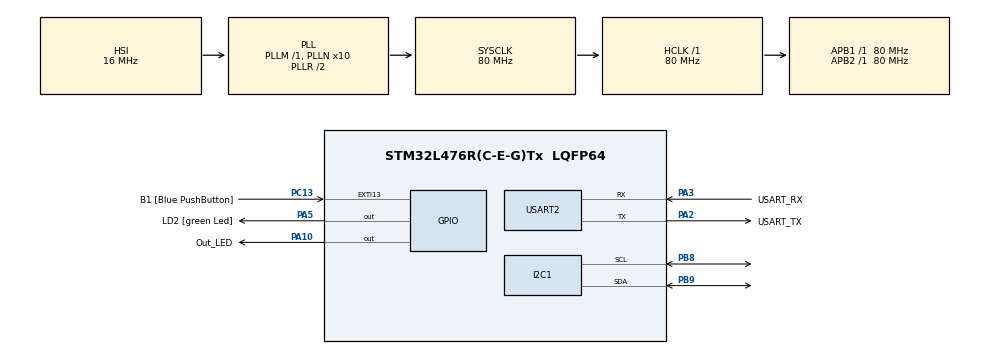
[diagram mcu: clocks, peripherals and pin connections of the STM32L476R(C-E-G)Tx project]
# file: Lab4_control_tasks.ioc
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FREERTOS.Tasks01=ReadRGB,24,128,StartReadRGB,Default,NULL,Dynamic,NULL,NULL;ControlTask,8,128,StartControlTask,Default,NULL,Dynamic,NULL,NULL;ActuatorTask,8,128,StartActuatorTask,Default,NULL,Dynamic,NULL,NULL
I2C1.Timing=0x10D19CE4
Mcu.Family=STM32L4
Mcu.Name=STM32L476R(C-E-G)Tx
Mcu.Package=LQFP64
NVIC.PriorityGroup=NVIC_PRIORITYGROUP_4
NVIC.TIM6_DAC_IRQn=true\:15\:0\:false\:false\:true\:false\:false\:true\:true
NVIC.TimeBase=TIM6_DAC_IRQn
NVIC.TimeBaseIP=TIM6
PA10.GPIO_Label=Out_LED
PA10.Signal=GPIO_Output
PA13\ (JTMS-SWDIO).GPIO_Label=TMS
PA13\ (JTMS-SWDIO).Mode=Serial_Wire
PA13\ (JTMS-SWDIO).Signal=SYS_JTMS-SWDIO
PA14\ (JTCK-SWCLK).GPIO_Label=TCK
PA14\ (JTCK-SWCLK).Mode=Serial_Wire
PA14\ (JTCK-SWCLK).Signal=SYS_JTCK-SWCLK
PA2.GPIO_Label=USART_TX
PA2.GPIO_Mode=GPIO_MODE_AF_PP
PA2.GPIO_PuPd=GPIO_NOPULL
PA2.GPIO_Speed=GPIO_SPEED_FREQ_VERY_HIGH
PA2.Mode=Asynchronous
PA2.Signal=USART2_TX
PA3.GPIO_Label=USART_RX
PA3.GPIO_Mode=GPIO_MODE_AF_PP
PA3.GPIO_PuPd=GPIO_NOPULL
PA3.GPIO_Speed=GPIO_SPEED_FREQ_VERY_HIGH
PA3.Mode=Asynchronous
PA3.Signal=USART2_RX
PA5.GPIO_Label=LD2 [green Led]
PA5.GPIO_ModeDefaultOutputPP=GPIO_MODE_OUTPUT_PP
PA5.GPIO_PuPd=GPIO_NOPULL
PA5.GPIO_Speed=GPIO_SPEED_FREQ_LOW
PA5.Signal=GPIO_Output
PB3\ (JTDO-TRACESWO).GPIO_Label=SWO
PB3\ (JTDO-TRACESWO).Signal=SYS_JTDO-SWO
PB8.Mode=I2C
PB8.Signal=I2C1_SCL
PB9.Mode=I2C
PB9.Signal=I2C1_SDA
PC13.GPIO_Label=B1 [Blue PushButton]
PC13.GPIO_ModeDefaultEXTI=GPIO_MODE_IT_FALLING
PC13.GPIO_PuPd=GPIO_NOPULL
PC13.Signal=GPXTI13
PC14-OSC32_IN\ (PC14).Mode=LSE-External-Oscillator
PC14-OSC32_IN\ (PC14).Signal=RCC_OSC32_IN
PC15-OSC32_OUT\ (PC15).Mode=LSE-External-Oscillator
PC15-OSC32_OUT\ (PC15).Signal=RCC_OSC32_OUT
PH0-OSC_IN\ (PH0).Signal=RCC_OSC_IN
PH1-OSC_OUT\ (PH1).Signal=RCC_OSC_OUT
ProjectManager.HeapSize=0x200
ProjectManager.StackSize=0x400
ProjectManager.TargetToolchain=STM32CubeIDE
RCC.ADCFreq_Value=64000000
RCC.AHBFreq_Value=80000000
RCC.APB1Freq_Value=80000000
RCC.APB1TimFreq_Value=80000000
RCC.APB2Freq_Value=80000000
RCC.APB2TimFreq_Value=80000000
RCC.CortexFreq_Value=80000000
RCC.HCLKFreq_Value=80000000
RCC.HSE_VALUE=8000000
RCC.HSI_VALUE=16000000
RCC.MSI_VALUE=4000000
RCC.PLLN=10
RCC.PLLSourceVirtual=RCC_PLLSOURCE_HSI
RCC.PREFETCH_ENABLE=1
RCC.SYSCLKFreq_VALUE=80000000
RCC.SYSCLKSource=RCC_SYSCLKSOURCE_PLLCLK
RCC.USBFreq_Value=64000000
RCC.VCOOutputFreq_Value=160000000
USART2.VirtualMode-Asynchronous=VM_ASYNC
VP_FREERTOS_VS_CMSIS_V2.Mode=CMSIS_V2
VP_SYS_VS_tim6.Mode=TIM6
board=NUCLEO-L476RG

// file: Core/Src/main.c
/* USER CODE BEGIN Header */
/**
  ******************************************************************************
  * @file           : main.c
  * @brief          : Main program body
  ******************************************************************************
  * @attention
  *
  * Copyright (c) 2025 STMicroelectronics.
  * All rights reserved.
  *
  * This software is licensed under terms that can be found in the LICENSE file
  * in the root directory of this software component.
  * If no LICENSE file comes with this software, it is provided AS-IS.
  *
  ******************************************************************************
  */
/* USER CODE END Header */
#include "main.h"
#include "cmsis_os.h"

/* USER CODE BEGIN Includes */
#include <string.h>
#include <stdio.h>
#include "task.h"
/* USER CODE END Includes */

/* USER CODE BEGIN PD */
#define ISL29125_ADDR         (0x44 << 1)  // 7-bit address shifted for HAL

// Register map
#define ISL29125_REG_DEVICE_ID   0x00
#define ISL29125_REG_CONFIG1     0x01
#define ISL29125_REG_CONFIG2     0x02
#define ISL29125_REG_CONFIG3     0x03
#define ISL29125_REG_STATUS      0x08
#define ISL29125_REG_GREEN_L     0x09
#define ISL29125_REG_GREEN_H     0x0A
#define ISL29125_REG_RED_L       0x0B
#define ISL29125_REG_RED_H       0x0C
#define ISL29125_REG_BLUE_L      0x0D
#define ISL29125_REG_BLUE_H      0x0E

// Config bits
#define CONFIG1_MODE_RGB_16BIT   0x05   // RGB mode, 16-bit ADC, 375 lux
#define CONFIG1_MODE_RGB_12BIT   0x0D   // RGB mode, 12-bit ADC, 375 lux
#define CONFIG2_IR_MAX           0xBF   // Max IR compensation + IR offset
#define CONFIG3_DEFAULT          0x00   // Default settings

/* USER CODE END PD */

I2C_HandleTypeDef hi2c1;

UART_HandleTypeDef huart2;

/* Definitions for ReadRGB */
osThreadId_t ReadRGBHandle;
const osThreadAttr_t ReadRGB_attributes = {
  .name = "ReadRGB",
  .stack_size = 128 * 4,
  .priority = (osPriority_t) osPriorityNormal,
};
/* Definitions for ControlTask */
osThreadId_t ControlTaskHandle;
const osThreadAttr_t ControlTask_attributes = {
  .name = "ControlTask",
  .stack_size = 128 * 4,
  .priority = (osPriority_t) osPriorityLow,
};
/* USER CODE BEGIN PV */
char msg[64];
char detectedColor[16];   // Shared string between tasks

/* USER CODE END PV */

void SystemClock_Config(void);
static void MX_GPIO_Init(void);
static void MX_USART2_UART_Init(void);
static void MX_I2C1_Init(void);
void StartReadRGB(void *argument);
void StartControlTask(void *argument);

/* USER CODE BEGIN PFP */
HAL_StatusTypeDef ISL29125_WriteRegister(uint8_t reg, uint8_t value);
HAL_StatusTypeDef ISL29125_ReadRegister(uint8_t reg, uint8_t *value);
HAL_StatusTypeDef ISL29125_Init(void);
HAL_StatusTypeDef ISL29125_ReadRGB255(int *r_val, int *g_val, int *b_val);
void Actuator_SetLED(uint8_t state);
const char* DetectColor(int r, int g, int b);
//void Queue_Init(void);

/* USER CODE END PFP */

/* USER CODE BEGIN 0 */
void traceTaskSwitch(void)
{
    uint8_t buf1[50];

    HAL_GPIO_TogglePin(GPIOA, LD2_Pin);

    // Print the current task name to UART
    snprintf((char*)buf1, sizeof(buf1),
             "Current task: %s\r\n", pcTaskGetName(NULL));
    HAL_UART_Transmit(&huart2, buf1, strlen((char*)buf1), HAL_MAX_DELAY);
}
/* USER CODE END 0 */

int main(void)
{

  /* MCU Configuration--------------------------------------------------------*/

  /* Reset of all peripherals, Initializes the Flash interface and the Systick. */
  HAL_Init();

  /* Configure the system clock */
  SystemClock_Config();

  /* Initialize all configured peripherals */
  MX_GPIO_Init();
  MX_USART2_UART_Init();
  MX_I2C1_Init();
  /* USER CODE BEGIN 2 */
  ISL29125_Init();

  /* USER CODE END 2 */

  /* Init scheduler */
  osKernelInitialize();

  /* Create the thread(s) */
  /* creation of ReadRGB */
  ReadRGBHandle = osThreadNew(StartReadRGB, NULL, &ReadRGB_attributes);

  /* creation of ControlTask */
  ControlTaskHandle = osThreadNew(StartControlTask, NULL, &ControlTask_attributes);

  /* Start scheduler */
  osKernelStart();

  /* We should never get here as control is now taken by the scheduler */

  /* Infinite loop */
  /* USER CODE BEGIN WHILE */
  while (1)
  {

//	  if (ISL29125_ReadRGB255(&r_pct, &g_pct, &b_pct) == HAL_OK) {
//	      int len = snprintf(msg, sizeof(msg),"R=%d%% G=%d%% B=%d%%\r\n",r_pct, g_pct, b_pct);
//	      HAL_UART_Transmit(&huart2, (uint8_t*)msg, len, HAL_MAX_DELAY);
//
//	  }
//	  HAL_Delay(500);
    /* USER CODE END WHILE */

  }
}

void SystemClock_Config(void)
{
  RCC_OscInitTypeDef RCC_OscInitStruct = {0};
  RCC_ClkInitTypeDef RCC_ClkInitStruct = {0};

  /** Configure the main internal regulator output voltage
  */
  if (HAL_PWREx_ControlVoltageScaling(PWR_REGULATOR_VOLTAGE_SCALE1) != HAL_OK)
  {
    Error_Handler();
  }

  /** Initializes the RCC Oscillators according to the specified parameters
  * in the RCC_OscInitTypeDef structure.
  */
  RCC_OscInitStruct.OscillatorType = RCC_OSCILLATORTYPE_HSI;
  RCC_OscInitStruct.HSIState = RCC_HSI_ON;
  RCC_OscInitStruct.HSICalibrationValue = RCC_HSICALIBRATION_DEFAULT;
  RCC_OscInitStruct.PLL.PLLState = RCC_PLL_ON;
  RCC_OscInitStruct.PLL.PLLSource = RCC_PLLSOURCE_HSI;
  RCC_OscInitStruct.PLL.PLLM = 1;
  RCC_OscInitStruct.PLL.PLLN = 10;
  RCC_OscInitStruct.PLL.PLLP = RCC_PLLP_DIV7;
  RCC_OscInitStruct.PLL.PLLQ = RCC_PLLQ_DIV2;
  RCC_OscInitStruct.PLL.PLLR = RCC_PLLR_DIV2;
  if (HAL_RCC_OscConfig(&RCC_OscInitStruct) != HAL_OK)
  {
    Error_Handler();
  }

  /** Initializes the CPU, AHB and APB buses clocks
  */
  RCC_ClkInitStruct.ClockType = RCC_CLOCKTYPE_HCLK|RCC_CLOCKTYPE_SYSCLK
                              |RCC_CLOCKTYPE_PCLK1|RCC_CLOCKTYPE_PCLK2;
  RCC_ClkInitStruct.SYSCLKSource = RCC_SYSCLKSOURCE_PLLCLK;
  RCC_ClkInitStruct.AHBCLKDivider = RCC_SYSCLK_DIV1;
  RCC_ClkInitStruct.APB1CLKDivider = RCC_HCLK_DIV1;
  RCC_ClkInitStruct.APB2CLKDivider = RCC_HCLK_DIV1;

  if (HAL_RCC_ClockConfig(&RCC_ClkInitStruct, FLASH_LATENCY_4) != HAL_OK)
  {
    Error_Handler();
  }
}

static void MX_I2C1_Init(void)
{

  hi2c1.Instance = I2C1;
  hi2c1.Init.Timing = 0x10D19CE4;
  hi2c1.Init.OwnAddress1 = 0;
  hi2c1.Init.AddressingMode = I2C_ADDRESSINGMODE_7BIT;
  hi2c1.Init.DualAddressMode = I2C_DUALADDRESS_DISABLE;
  hi2c1.Init.OwnAddress2 = 0;
  hi2c1.Init.OwnAddress2Masks = I2C_OA2_NOMASK;
  hi2c1.Init.GeneralCallMode = I2C_GENERALCALL_DISABLE;
  hi2c1.Init.NoStretchMode = I2C_NOSTRETCH_DISABLE;
  if (HAL_I2C_Init(&hi2c1) != HAL_OK)
  {
    Error_Handler();
  }

  /** Configure Analogue filter
  */
  if (HAL_I2CEx_ConfigAnalogFilter(&hi2c1, I2C_ANALOGFILTER_ENABLE) != HAL_OK)
  {
    Error_Handler();
  }

  /** Configure Digital filter
  */
  if (HAL_I2CEx_ConfigDigitalFilter(&hi2c1, 0) != HAL_OK)
  {
    Error_Handler();
  }

}

static void MX_USART2_UART_Init(void)
{

  huart2.Instance = USART2;
  huart2.Init.BaudRate = 115200;
  huart2.Init.WordLength = UART_WORDLENGTH_8B;
  huart2.Init.StopBits = UART_STOPBITS_1;
  huart2.Init.Parity = UART_PARITY_NONE;
  huart2.Init.Mode = UART_MODE_TX_RX;
  huart2.Init.HwFlowCtl = UART_HWCONTROL_NONE;
  huart2.Init.OverSampling = UART_OVERSAMPLING_16;
  huart2.Init.OneBitSampling = UART_ONE_BIT_SAMPLE_DISABLE;
  huart2.AdvancedInit.AdvFeatureInit = UART_ADVFEATURE_NO_INIT;
  if (HAL_UART_Init(&huart2) != HAL_OK)
  {
    Error_Handler();
  }

}

static void MX_GPIO_Init(void)
{
  GPIO_InitTypeDef GPIO_InitStruct = {0};

  /* GPIO Ports Clock Enable */
  __HAL_RCC_GPIOC_CLK_ENABLE();
  __HAL_RCC_GPIOH_CLK_ENABLE();
  __HAL_RCC_GPIOA_CLK_ENABLE();
  __HAL_RCC_GPIOB_CLK_ENABLE();

  /*Configure GPIO pin Output Level */
  HAL_GPIO_WritePin(GPIOA, LD2_Pin|Out_LED_Pin, GPIO_PIN_RESET);

  /*Configure GPIO pin : B1_Pin */
  GPIO_InitStruct.Pin = B1_Pin;
  GPIO_InitStruct.Mode = GPIO_MODE_IT_FALLING;
  GPIO_InitStruct.Pull = GPIO_NOPULL;
  HAL_GPIO_Init(B1_GPIO_Port, &GPIO_InitStruct);

  /*Configure GPIO pins : LD2_Pin Out_LED_Pin */
  GPIO_InitStruct.Pin = LD2_Pin|Out_LED_Pin;
  GPIO_InitStruct.Mode = GPIO_MODE_OUTPUT_PP;
  GPIO_InitStruct.Pull = GPIO_NOPULL;
  GPIO_InitStruct.Speed = GPIO_SPEED_FREQ_LOW;
  HAL_GPIO_Init(GPIOA, &GPIO_InitStruct);

}

/* USER CODE BEGIN 4 */
HAL_StatusTypeDef ISL29125_WriteRegister(uint8_t reg, uint8_t value) {
    uint8_t buf[2] = {reg, value};
    return HAL_I2C_Master_Transmit(&hi2c1, ISL29125_ADDR, buf, 2, HAL_MAX_DELAY);
}

HAL_StatusTypeDef ISL29125_ReadRegister(uint8_t reg, uint8_t *value) {
    HAL_StatusTypeDef ret;
    ret = HAL_I2C_Master_Transmit(&hi2c1, ISL29125_ADDR, &reg, 1, HAL_MAX_DELAY);
    if (ret != HAL_OK) return ret;
    return HAL_I2C_Master_Receive(&hi2c1, ISL29125_ADDR, value, 1, HAL_MAX_DELAY);
}

HAL_StatusTypeDef ISL29125_Init(void)
{
    HAL_StatusTypeDef ret;
//    uint8_t device_id;

    //  Configure sensor for RGB mode, 16-bit ADC, 375 lux
    ret = ISL29125_WriteRegister(ISL29125_REG_CONFIG1, CONFIG1_MODE_RGB_16BIT);
    if (ret != HAL_OK) return ret;

    // Sensor initialized successfully
    return HAL_OK;
}

HAL_StatusTypeDef ISL29125_ReadRGB255(int *r_val, int *g_val, int *b_val) {
    uint8_t lo, hi;
    uint16_t r_raw, g_raw, b_raw;

    // Read Green
    ISL29125_ReadRegister(ISL29125_REG_GREEN_L, &lo);
    ISL29125_ReadRegister(ISL29125_REG_GREEN_H, &hi);
    g_raw = (hi << 8) | lo;

    // Read Red
    ISL29125_ReadRegister(ISL29125_REG_RED_L, &lo);
    ISL29125_ReadRegister(ISL29125_REG_RED_H, &hi);
    r_raw = (hi << 8) | lo;

    // Read Blue
    ISL29125_ReadRegister(ISL29125_REG_BLUE_L, &lo);
    ISL29125_ReadRegister(ISL29125_REG_BLUE_H, &hi);
    b_raw = (hi << 8) | lo;

    // Convert to percentage of sensor range (0–65535)
    *r_val = (r_raw * 255) / 65535;
    *g_val = (g_raw * 255) / 65535;
    *b_val = (b_raw * 255) / 65535;

    return HAL_OK;
}
void Actuator_SetLED(uint8_t state) {
    HAL_GPIO_WritePin(GPIOA, Out_LED_Pin,
                      state ? GPIO_PIN_SET : GPIO_PIN_RESET);
}
const char* DetectColor(int r, int g, int b) {
    // --- BLACK detection ---
    if (r < 60 && g < 100 && 50 < b && b < 80) return "BLACK";

    // --- YELLOW detection ---
    if (r > 240 && g > 240 && b > 190) return "YELLOW";

    // --- RED detection ---
    if (r > 145 && g > 145) {
        if (g - b > 60) return "RED";
    }

    // --- GREEN (Dark/Light) detection ---
    if (g > 250) {
        if (g > r + 70 && g > b + 70) return "GREEN";
        if (r > 150 && b > 150) return "GREEN";
    }

    // --- BLUE (Dark/Light) detection ---
    if (g > 170 && b > 170 && r < 100) {
        if (b > r + 90) return "BLUE";
    }

    // Fallback if nothing matches cleanly
    return "UNKNOWN";
}

/* USER CODE END 4 */

void StartReadRGB(void *argument)
{
  /* USER CODE BEGIN 5 */
  /* Infinite loop */
	for(;;)
	{
        int r, g, b;

        if (ISL29125_ReadRGB255(&r, &g, &b) == HAL_OK) {
            const char* color = DetectColor(r, g, b);

            // Save detected color string globally (for ControlTask)
            strncpy(detectedColor, color, sizeof(detectedColor)-1);
            detectedColor[sizeof(detectedColor)-1] = '\0';

            // Print RGB + Detected color
            int len = snprintf(msg, sizeof(msg),
                               "R=%d G=%d B=%d | Detected: %s\r\n",
                               r, g, b, color);

            HAL_UART_Transmit(&huart2, (uint8_t*)msg, len, HAL_MAX_DELAY);
        }
        osDelay(500);
    }

  /* USER CODE END 5 */
}

void StartControlTask(void *argument)
{
  /* USER CODE BEGIN StartControlTask */
  /* Infinite loop */
  for(;;)
  {
      uint8_t state = 0;

      // Make a local copy of the detected color (thread safety)
      char color_local[16];
      strncpy(color_local, detectedColor, sizeof(color_local));
      color_local[sizeof(color_local)-1] = '\0';

      // Decide based on color
      if (strcmp(color_local, "GREEN") == 0) {
          state = 1; // turn LED ON
      }
      else if (strcmp(color_local, "YELLOW") == 0) {
          state = 1; // also turn LED ON
      }
      else {
          state = 0; // LED OFF otherwise
      }

      Actuator_SetLED(state);

      osDelay(200);
  }
  /* USER CODE END StartControlTask */
}

void HAL_TIM_PeriodElapsedCallback(TIM_HandleTypeDef *htim)
{
  if (htim->Instance == TIM6)
  {
    HAL_IncTick();
  }
}

void Error_Handler(void)
{
  __disable_irq();
  while (1)
  {
  }
}
